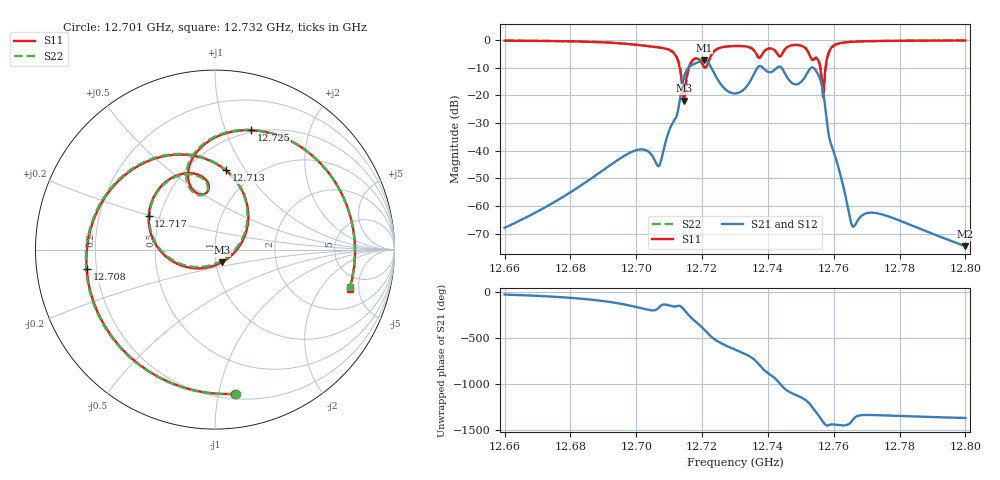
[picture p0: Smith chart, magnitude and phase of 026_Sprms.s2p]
! TOUCHSTONE file generated by CST MICROWAVE STUDIO
! Date and time: Wed Jul 31 11:57:11 2024
! Project name: WaveGuide_BPF-Ver4.1_U-shape_Ku_T3_C4_CWA_2.cst
! Parameters = {cavity_h=16; cavity_l0=10; cavity_l1=15.2169; cavity_l2=16.8612; cavity_l3=17.0611; cavity_l4=17.2808; cavity_l5=17.1085; cavity_l6=17.5825; cavity_r=2.5; cavity_screw_l=0.5; cavity_screw_r=1.5; cavity_w=8; iris_h00=0; iris_h01=8.8324; iris_h112=0; iris_h12=5.6015; iris_h211=3.6629; 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
! Header version: 2018
! Port assignment regex: !\s*Touchstone port\s*([0-9]+)\s*=\s*(CST MWS port|CST DS port)\s*([0-9]+|Zmin|Zmax)\s*\(\"(.*)\"\)(\s*mode\s*([0-9]+))?.*
! Touchstone port assignment:
! Touchstone port 1 = CST MWS port 1 ("")
! Touchstone port 2 = CST MWS port 2 ("")
# GHz S RI R 50
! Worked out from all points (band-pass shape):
!   5001 points, 12.66 GHz to 12.8 GHz, reference 50 ohm
!   highest |S21| = -7.24 dB at 12.721 GHz (marker M1); lowest = -74.5 dB at 12.8 GHz (marker M2)
!   |S21| within 3 dB of the highest: 12.71565 GHz to 12.7229 GHz (7.25 MHz wide, 0.057 % of centre); 12.73668 GHz to 12.73869 GHz (2.015 MHz wide, 0.0158 % of centre) (the widest 2 of 4)
!   lowest |S11| = -21.9 dB at 12.714 GHz (marker M3), VSWR 1.17, Z = 53.6 - j7.53 ohm
!   |S11| at or under -10 dB: 12.7132 GHz to 12.71594 GHz (2.735 MHz wide, 0.0215 % of centre); 12.72087 GHz to 12.72105 GHz (186.1 kHz wide, 0.00146 % of centre); 12.75589 GHz to 12.75749 GHz (1.601 MHz wide, 0.0126 % of centre)
!   |S22| runs from -22.8 to -0.1 dB; largest |S21 - S12| = 1e-09
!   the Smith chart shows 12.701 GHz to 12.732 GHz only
!   S11 on the Smith chart (normalised r, x): 12.701 GHz: 0.24, -1.12; 12.708 GHz: 0.16, -0.07; 12.713 GHz: 0.74, +0.82; 12.717 GHz: 0.43, +0.20; 12.725 GHz: 0.48, +1.23; 12.732 GHz: 3.55, -3.95
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12.66  0.4531 0.8645  0.000342 -0.000213  0.000342 -0.000213  0.4499 0.8662
12.68335  0.8865 0.3102  0.000532 -0.00232  0.000532 -0.00232  0.886 0.3114
12.69352  0.8109 -0.3582  -0.0032 -0.00538  -0.0032 -0.00538  0.8108 -0.3586
12.70085  0.1142 -0.8031  -0.0104 -0.00105  -0.0104 -0.00105  0.1158 -0.8041
12.70668  -0.6747 -0.2968  -0.00524 -2.06e-05  -0.00524 -2.06e-05  -0.6734 -0.3094
12.70763  -0.7144 -0.1099  -0.00597 -0.00362  -0.00597 -0.00362  -0.7167 -0.1257
12.71253  0.0607 0.4414  -0.044 -0.0194  -0.044 -0.0194  0.0252 0.4688
12.7144  0.0395 -0.0698  -0.1973 0.0374  -0.1973 0.0374  0.0707 -0.0398
12.71687  -0.3693 0.1893  0.1112 0.3355  0.1112 0.3355  -0.3666 0.172
12.72056  -0.039 0.3273  0.2914 -0.3224  0.2914 -0.3224  -0.0442 0.3234
12.72468  0.2004 0.6649  -0.196 -0.0109  -0.196 -0.0109  0.1875 0.6675
12.73  0.7794 0.0328  -0.00461 0.1082  -0.00461 0.1082  0.7778 0.0412
12.73154  0.7495 -0.2174  0.0409 0.1069  0.0409 0.1069  0.7501 -0.2108
12.73773  0.2092 -0.4467  0.0102 -0.3391  0.0102 -0.3391  0.2106 -0.4389
12.74112  -0.0357 -0.6992  -0.2612 0.0454  -0.2612 0.0454  -0.0291 -0.6996
12.74649  -0.2741 -0.7301  0.1864 -0.0155  0.1864 -0.0155  -0.2731 -0.7321
12.75335  -0.4213 -0.1413  -0.3086 -0.0828  -0.3086 -0.0828  -0.4315 -0.1498
12.75668  -0.0803 -0.0556  0.1044 0.0671  0.1044 0.0671  -0.1164 -0.0321
12.75778  0.0472 -0.4104  0.0396 -0.00505  0.0396 -0.00505  0.051 -0.3734
12.76556  -0.7998 -0.4765  0.000335 0.000293  0.000335 0.000293  -0.7986 -0.4779
12.77668  -0.9631 -0.0836  -8.76e-05 0.00064  -8.76e-05 0.00064  -0.9631 -0.0849
12.8  -0.9217 0.3434  5.63e-05 0.000179  5.63e-05 0.000179  -0.9226 0.3411
